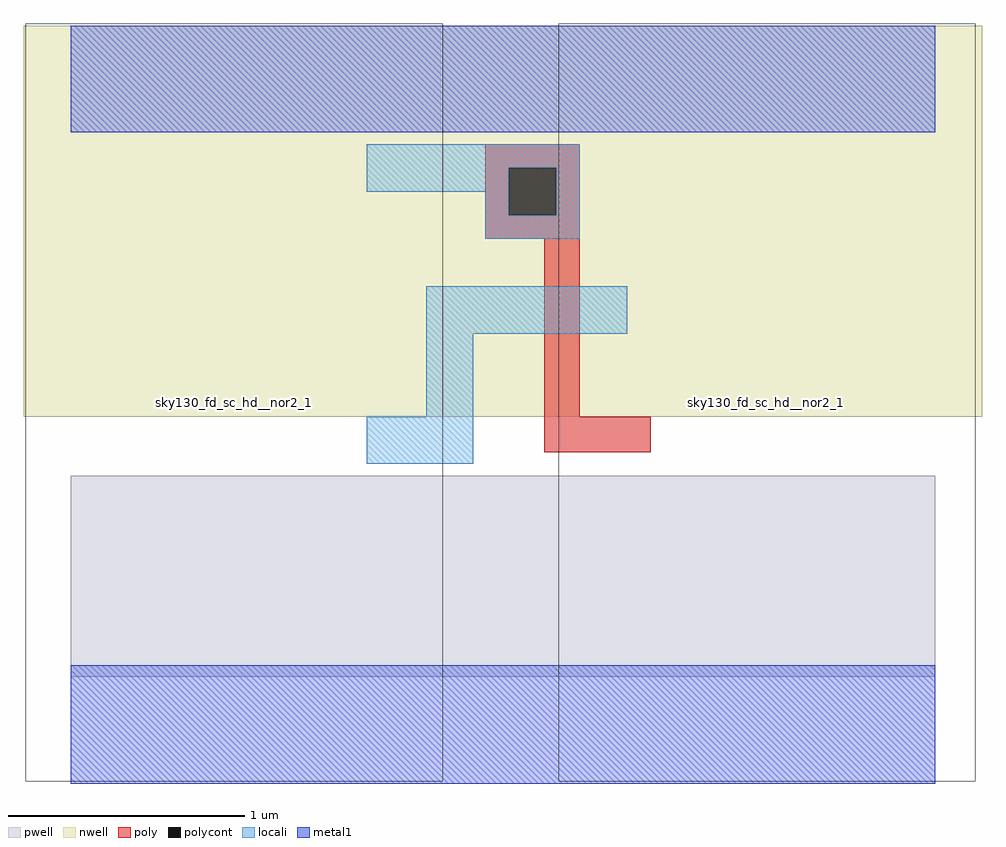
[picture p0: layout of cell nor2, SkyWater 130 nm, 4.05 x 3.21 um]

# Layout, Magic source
magic
tech sky130A
<< nwell >>
rect 120 215 525 380
<< pwell >>
rect 140 105 505 190
<< poly >>
rect 315 320 355 330
rect 315 300 325 320
rect 345 300 355 320
rect 315 290 355 300
rect 340 215 355 290
rect 340 200 385 215
<< polycont >>
rect 325 300 345 320
<< locali >>
rect 265 320 355 330
rect 265 310 325 320
rect 315 300 325 310
rect 345 300 355 320
rect 315 290 355 300
rect 290 250 375 270
rect 290 215 310 250
rect 265 195 310 215
<< metal1 >>
rect 140 335 505 380
rect 140 60 505 110
use sky130_fd_sc_hd__nor2_1  sky130_fd_sc_hd__nor2_1_0 $PDKPATH/libs.ref/sky130_fd_sc_hd/mag
transform 1 0 365 0 1 85
box -19 -24 157 296
use sky130_fd_sc_hd__nor2_1  sky130_fd_sc_hd__nor2_1_1
transform -1 0 278 0 1 85
box -19 -24 157 296
<< end >>
